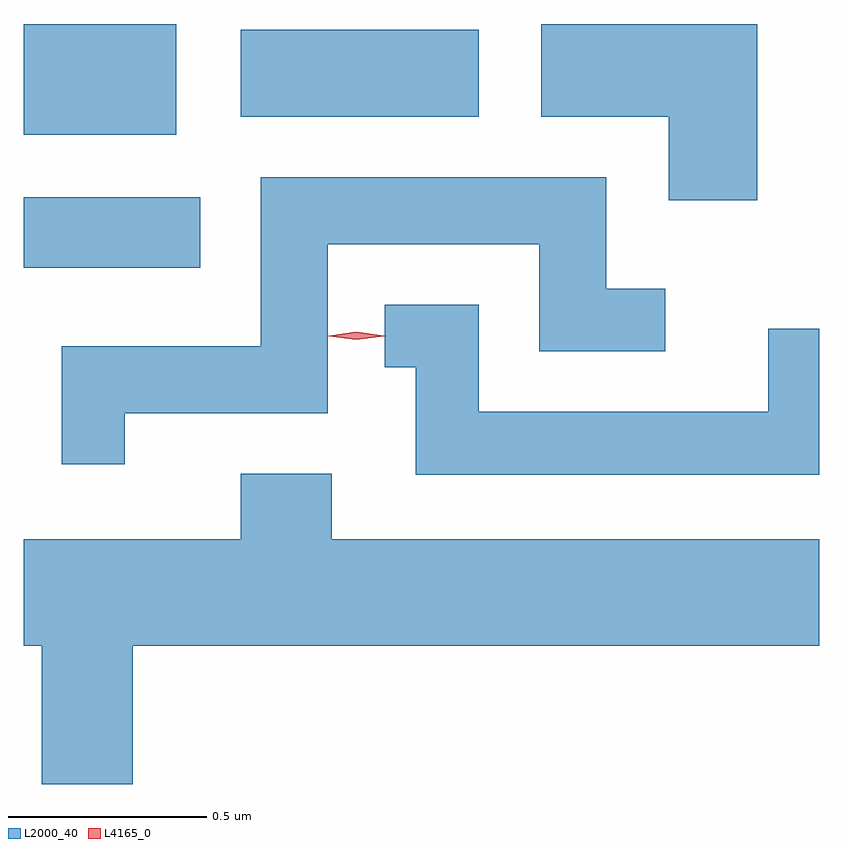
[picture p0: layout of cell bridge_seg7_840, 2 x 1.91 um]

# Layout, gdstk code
import gdstk
lib = gdstk.Library(unit=1e-6, precision=1e-09)
def R(c, l, rs):  # rectangles x0, y0, x1, y1
    for r in rs: c.add(gdstk.rectangle(r[:2], r[2:], *l))
def P(c, l, *ps):  # polygons
    for p in ps: c.add(gdstk.Polygon(p, *l))
L2000_40 = (2000, 40)
L4165_0 = (4165, 0)

bridge_seg7_840 = lib.new_cell('bridge_seg7_840')
R(bridge_seg7_840, L2000_40, [(404.515,1750.786,404.959,1750.964), (404.515,1751.121,404.899,1751.399), (405.061,1751.166,405.659,1751.384)])
P(bridge_seg7_840, L2000_40, [(406.359,1751.399),(405.816,1751.399),(405.816,1751.166),(406.136,1751.166),(406.136,1750.956),(406.359,1750.956)],
  [(404.769,1750.421),(405.279,1750.421),(405.279,1750.846),(405.811,1750.846),(405.811,1750.576),(406.128,1750.576),(406.128,1750.734),(405.979,1750.734),(405.979,1751.014),(405.111,1751.014),(405.111,1750.589),(404.611,1750.589),(404.611,1750.293),(404.769,1750.293)],
  [(406.515,1750.633),(406.386,1750.633),(406.386,1750.424),(405.659,1750.424),(405.659,1750.694),(405.423,1750.694),(405.423,1750.536),(405.501,1750.536),(405.501,1750.266),(406.515,1750.266)],
  [(404.789,1749.836),(406.515,1749.836),(406.515,1750.104),(405.289,1750.104),(405.289,1750.269),(405.061,1750.269),(405.061,1750.104),(404.515,1750.104),(404.515,1749.836),(404.561,1749.836),(404.561,1749.489),(404.789,1749.489)])
P(bridge_seg7_840, L4165_0, [(405.351,1750.605),(405.282,1750.614),(405.282,1750.615),(405.282,1750.615),(405.351,1750.625),(405.421,1750.615),(405.421,1750.615),(405.421,1750.614)])

lib.write_gds('bridge_seg7_840.gds')
